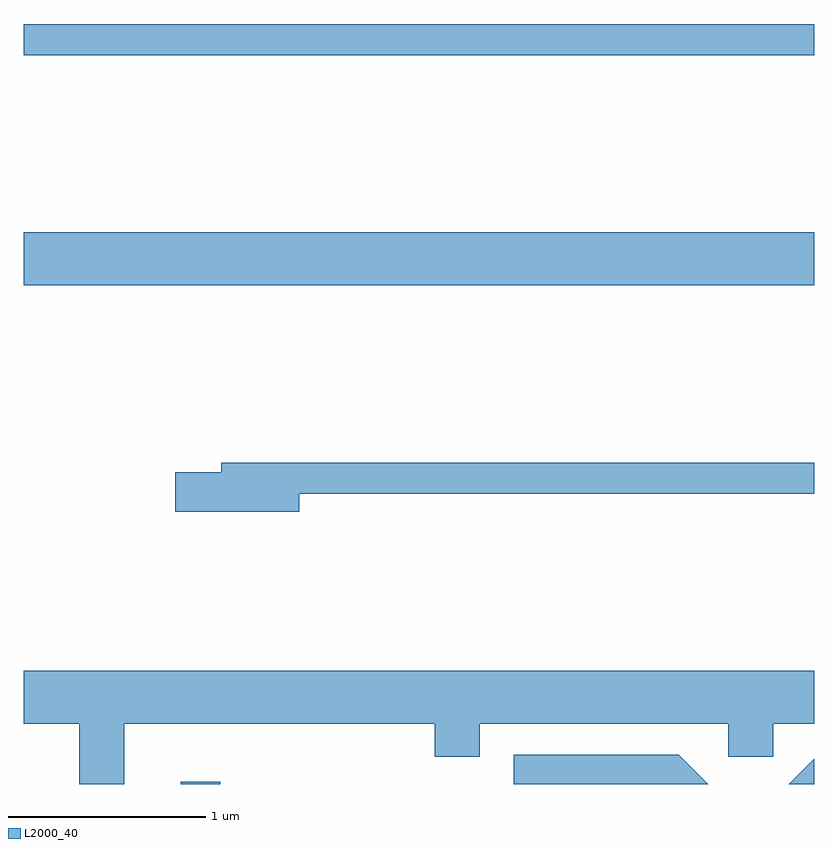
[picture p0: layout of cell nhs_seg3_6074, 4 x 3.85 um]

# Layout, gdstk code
import gdstk
lib = gdstk.Library(unit=1e-6, precision=1e-09)
def R(c, l, rs):  # rectangles x0, y0, x1, y1
    for r in rs: c.add(gdstk.rectangle(r[:2], r[2:], *l))
def P(c, l, *ps):  # polygons
    for p in ps: c.add(gdstk.Polygon(p, *l))
L2000_40 = (2000, 40)

nhs_seg3_6074 = lib.new_cell('nhs_seg3_6074')
R(nhs_seg3_6074, L2000_40, [(364.406,1167.892,364.604,1167.904), (363.611,1170.416,367.611,1170.684), (363.611,1171.581,367.611,1171.739)])
P(nhs_seg3_6074, L2000_40, [(365.004,1169.361),(367.611,1169.361),(367.611,1169.519),(364.611,1169.519),(364.611,1169.469),(364.376,1169.469),(364.376,1169.271),(365.004,1169.271)],
  [(364.119,1168.196),(365.691,1168.196),(365.691,1168.031),(365.919,1168.031),(365.919,1168.196),(367.176,1168.196),(367.176,1168.031),(367.404,1168.031),(367.404,1168.196),(367.611,1168.196),(367.611,1168.464),(363.611,1168.464),(363.611,1168.196),(363.891,1168.196),(363.891,1167.892),(364.119,1167.892)],
  [(366.927,1168.039),(366.091,1168.039),(366.091,1167.892),(367.074,1167.892)],
  [(367.611,1168.021),(367.482,1167.892),(367.611,1167.892)])

lib.write_gds('nhs_seg3_6074.gds')
